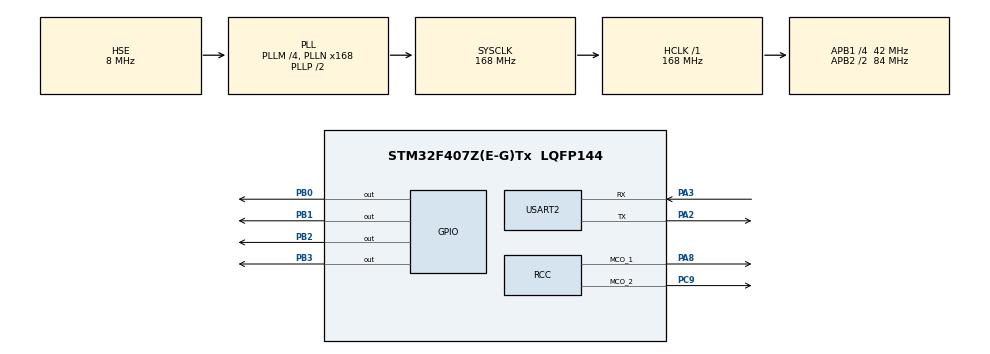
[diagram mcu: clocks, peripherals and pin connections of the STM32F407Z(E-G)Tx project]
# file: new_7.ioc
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Mcu.Family=STM32F4
Mcu.Name=STM32F407Z(E-G)Tx
Mcu.Package=LQFP144
NVIC.PriorityGroup=NVIC_PRIORITYGROUP_4
PA13.Mode=Serial_Wire
PA13.Signal=SYS_JTMS-SWDIO
PA14.Mode=Serial_Wire
PA14.Signal=SYS_JTCK-SWCLK
PA2.Mode=Asynchronous
PA2.Signal=USART2_TX
PA3.Mode=Asynchronous
PA3.Signal=USART2_RX
PA8.Mode=Clock-out-1
PA8.Signal=RCC_MCO_1
PB0.GPIO_PuPd=GPIO_PULLUP
PB0.GPIO_Speed=GPIO_SPEED_FREQ_VERY_HIGH
PB0.Signal=GPIO_Output
PB1.GPIO_PuPd=GPIO_PULLUP
PB1.GPIO_Speed=GPIO_SPEED_FREQ_VERY_HIGH
PB1.Signal=GPIO_Output
PB2.GPIO_PuPd=GPIO_PULLUP
PB2.GPIO_Speed=GPIO_SPEED_FREQ_VERY_HIGH
PB2.Signal=GPIO_Output
PB3.GPIO_PuPd=GPIO_PULLUP
PB3.GPIO_Speed=GPIO_SPEED_FREQ_VERY_HIGH
PB3.Signal=GPIO_Output
PC14-OSC32_IN.Mode=LSE-External-Oscillator
PC14-OSC32_IN.Signal=RCC_OSC32_IN
PC15-OSC32_OUT.Mode=LSE-External-Oscillator
PC15-OSC32_OUT.Signal=RCC_OSC32_OUT
PC9.Mode=Clock-out-2
PC9.Signal=RCC_MCO_2
PH0-OSC_IN.Mode=HSE-External-Oscillator
PH0-OSC_IN.Signal=RCC_OSC_IN
PH1-OSC_OUT.Mode=HSE-External-Oscillator
PH1-OSC_OUT.Signal=RCC_OSC_OUT
ProjectManager.HeapSize=0x200
ProjectManager.StackSize=0x400
ProjectManager.TargetToolchain=STM32CubeIDE
RCC.48MHZClocksFreq_Value=84000000
RCC.AHBFreq_Value=168000000
RCC.APB1CLKDivider=RCC_HCLK_DIV4
RCC.APB1Freq_Value=42000000
RCC.APB1TimFreq_Value=84000000
RCC.APB2CLKDivider=RCC_HCLK_DIV2
RCC.APB2Freq_Value=84000000
RCC.APB2TimFreq_Value=168000000
RCC.CortexFreq_Value=168000000
RCC.HCLKFreq_Value=168000000
RCC.HSE_VALUE=8000000
RCC.HSI_VALUE=16000000
RCC.PLLM=4
RCC.PLLN=168
RCC.PLLSourceVirtual=RCC_PLLSOURCE_HSE
RCC.SYSCLKFreq_VALUE=168000000
RCC.SYSCLKSource=RCC_SYSCLKSOURCE_PLLCLK
RCC.VCOOutputFreq_Value=336000000
USART2.VirtualMode=VM_ASYNC
board=custom

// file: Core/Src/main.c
/* USER CODE BEGIN Header */
/**
  ******************************************************************************
  * @file           : main.c
  * @brief          : Main program body
  ******************************************************************************
  * @attention
  *
  * Copyright (c) 2024 STMicroelectronics.
  * All rights reserved.
  *
  * This software is licensed under terms that can be found in the LICENSE file
  * in the root directory of this software component.
  * If no LICENSE file comes with this software, it is provided AS-IS.
  *
  ******************************************************************************
  */
/* USER CODE END Header */
#include "main.h"
#include "usart.h"
#include "gpio.h"

void SystemClock_Config(void);

int main(void)
{

  /* MCU Configuration--------------------------------------------------------*/

  /* Reset of all peripherals, Initializes the Flash interface and the Systick. */
  HAL_Init();

  /* Configure the system clock */
  SystemClock_Config();

  /* Initialize all configured peripherals */
  MX_GPIO_Init();
  MX_USART2_UART_Init();
  /* USER CODE BEGIN 2 */
  uint8_t greeting[22], receive[1];
  unsigned char count_times = 0;
  /* USER CODE END 2 */

  /* Infinite loop */
  /* USER CODE BEGIN WHILE */
  while (1)
  {
//      snprintf(greeting, sizeof(greeting), "Hello, world. %03d", count_times);
//
//      HAL_UART_Transmit(&huart2, (uint8_t *)greeting, strlen(greeting), 100);
//
//      count_times ++;
//      HAL_Delay(1000);

      HAL_UART_Receive(&huart2, receive, 1, HAL_MAX_DELAY);
      //HAL_UART_Transmit(&huart2, receive, 1, 100);

      switch (receive[0])
      {
        case 'R':
        case 'r':
          HAL_GPIO_TogglePin(GPIOB, GPIO_PIN_0);
          HAL_UART_Transmit(&huart2, (uint8_t *)"Done. \r\n", strlen("Done. \r\n"), 100);
          break;
        case 'G':
        case 'g':
          HAL_GPIO_TogglePin(GPIOB, GPIO_PIN_2);
          HAL_UART_Transmit(&huart2, (uint8_t *)"Done. \r\n", strlen("Done. \r\n"), 100);
          break;
        case 'Y':
        case 'y':
          HAL_GPIO_TogglePin(GPIOB, GPIO_PIN_1);
          HAL_UART_Transmit(&huart2, (uint8_t *)"Done. \r\n", strlen("Done. \r\n"), 100);
        break;
        case 'W':
        case 'w':
          HAL_GPIO_TogglePin(GPIOB, GPIO_PIN_3);
          HAL_UART_Transmit(&huart2, (uint8_t *)"Done. \r\n", strlen("Done. \r\n"), 100);
        break;
      }

    /* USER CODE END WHILE */

  }
}

void SystemClock_Config(void)
{
  RCC_OscInitTypeDef RCC_OscInitStruct = {0};
  RCC_ClkInitTypeDef RCC_ClkInitStruct = {0};

  /** Configure the main internal regulator output voltage
  */
  __HAL_RCC_PWR_CLK_ENABLE();
  __HAL_PWR_VOLTAGESCALING_CONFIG(PWR_REGULATOR_VOLTAGE_SCALE1);

  /** Initializes the RCC Oscillators according to the specified parameters
  * in the RCC_OscInitTypeDef structure.
  */
  RCC_OscInitStruct.OscillatorType = RCC_OSCILLATORTYPE_HSI|RCC_OSCILLATORTYPE_HSE;
  RCC_OscInitStruct.HSEState = RCC_HSE_ON;
  RCC_OscInitStruct.HSIState = RCC_HSI_ON;
  RCC_OscInitStruct.HSICalibrationValue = RCC_HSICALIBRATION_DEFAULT;
  RCC_OscInitStruct.PLL.PLLState = RCC_PLL_ON;
  RCC_OscInitStruct.PLL.PLLSource = RCC_PLLSOURCE_HSE;
  RCC_OscInitStruct.PLL.PLLM = 4;
  RCC_OscInitStruct.PLL.PLLN = 168;
  RCC_OscInitStruct.PLL.PLLP = RCC_PLLP_DIV2;
  RCC_OscInitStruct.PLL.PLLQ = 4;
  if (HAL_RCC_OscConfig(&RCC_OscInitStruct) != HAL_OK)
  {
    Error_Handler();
  }

  /** Initializes the CPU, AHB and APB buses clocks
  */
  RCC_ClkInitStruct.ClockType = RCC_CLOCKTYPE_HCLK|RCC_CLOCKTYPE_SYSCLK
                              |RCC_CLOCKTYPE_PCLK1|RCC_CLOCKTYPE_PCLK2;
  RCC_ClkInitStruct.SYSCLKSource = RCC_SYSCLKSOURCE_PLLCLK;
  RCC_ClkInitStruct.AHBCLKDivider = RCC_SYSCLK_DIV1;
  RCC_ClkInitStruct.APB1CLKDivider = RCC_HCLK_DIV4;
  RCC_ClkInitStruct.APB2CLKDivider = RCC_HCLK_DIV2;

  if (HAL_RCC_ClockConfig(&RCC_ClkInitStruct, FLASH_LATENCY_5) != HAL_OK)
  {
    Error_Handler();
  }
  HAL_RCC_MCOConfig(RCC_MCO1, RCC_MCO1SOURCE_HSI, RCC_MCODIV_1);
  HAL_RCC_MCOConfig(RCC_MCO2, RCC_MCO2SOURCE_SYSCLK, RCC_MCODIV_1);
}

void Error_Handler(void)
{
  __disable_irq();
  while (1)
  {
  }
}
